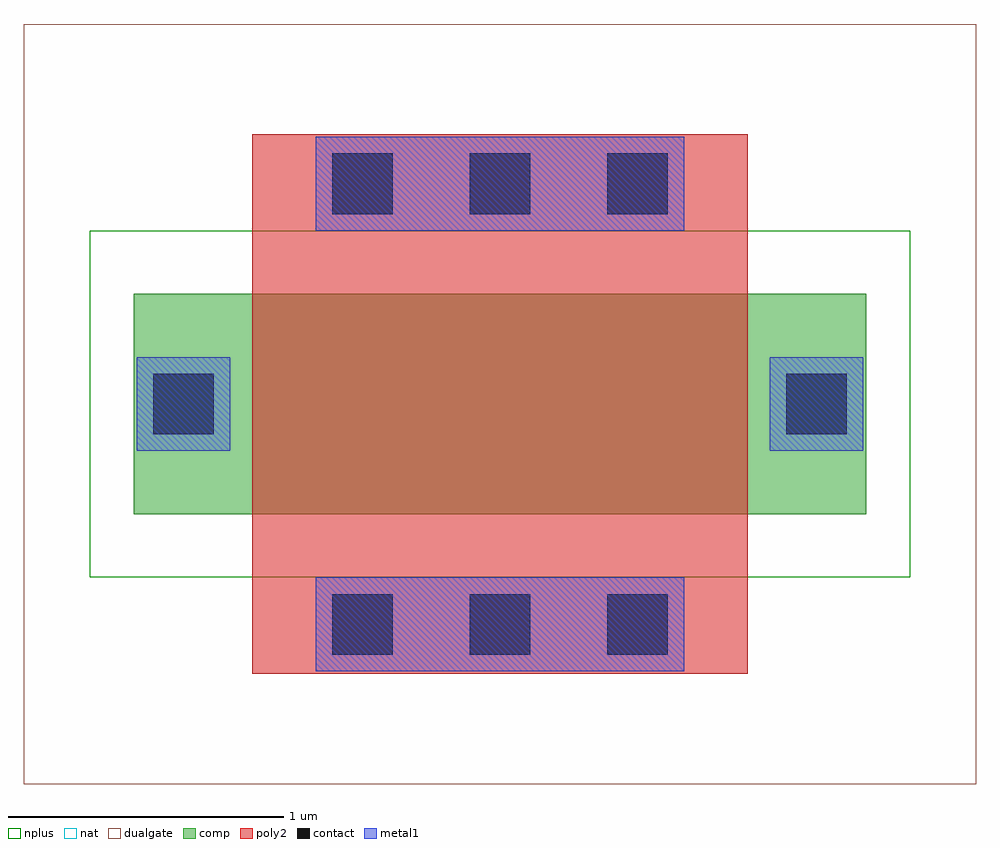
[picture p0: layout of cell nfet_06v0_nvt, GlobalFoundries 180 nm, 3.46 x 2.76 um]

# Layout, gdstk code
import gdstk
lib = gdstk.Library(unit=1e-6, precision=1e-09)
def R(c, l, rs):  # rectangles x0, y0, x1, y1
    for r in rs: c.add(gdstk.rectangle(r[:2], r[2:], *l))
nat = (5, 0)
comp = (22, 0)
poly2 = (30, 0)
nplus = (32, 0)
contact = (33, 0)
metal1 = (34, 0)
dualgate = (55, 0)

labels_gen_0dccefe6 = lib.new_cell('labels_gen_0dccefe6')

labels_gen_2a4a207f = lib.new_cell('labels_gen_2a4a207f')

labels_gen_28d2ae84 = lib.new_cell('labels_gen_28d2ae84')

compass_f9da3d91 = lib.new_cell('compass_f9da3d91')
R(compass_f9da3d91, comp, [(-0.97,-0.4,0.97,0.4)])

rectangle_f9da3d91 = lib.new_cell('rectangle_f9da3d91')
rectangle_f9da3d91.add(gdstk.Reference(compass_f9da3d91, (0.97,0.4)))

compass_2275cc76 = lib.new_cell('compass_2275cc76')
R(compass_2275cc76, comp, [(-0.18,-0.4,0.18,0.4)])

rectangle_2275cc76 = lib.new_cell('rectangle_2275cc76')
rectangle_2275cc76.add(gdstk.Reference(compass_2275cc76, (0.18,0.4)))

compass_f38dc993 = lib.new_cell('compass_f38dc993')
R(compass_f38dc993, contact, [(-0.11,-0.11,0.11,0.11)])

rectangle_f38dc993 = lib.new_cell('rectangle_f38dc993')
rectangle_f38dc993.add(gdstk.Reference(compass_f38dc993, (0.11,0.11)))

via_generator_3e6de886 = lib.new_cell('via_generator_3e6de886')
r = gdstk.Reference(rectangle_f38dc993, (-0.29,0.29)); r.repetition = gdstk.Repetition(1, 1, v1=(0.5,0), v2=(0,0.5)); via_generator_3e6de886.add(r)

compass_855f7ca8 = lib.new_cell('compass_855f7ca8')
R(compass_855f7ca8, metal1, [(-0.17,-0.17,0.17,0.17)])

rectangle_855f7ca8 = lib.new_cell('rectangle_855f7ca8')
rectangle_855f7ca8.add(gdstk.Reference(compass_855f7ca8, (0.17,0.17)))

via_stack_70f13287 = lib.new_cell('via_stack_70f13287')
via_stack_70f13287.add(gdstk.Reference(via_generator_3e6de886, (0,0)))
via_stack_70f13287.add(gdstk.Reference(rectangle_855f7ca8, (-0.35,0.23)))

compass_0bbb263b = lib.new_cell('compass_0bbb263b')
R(compass_0bbb263b, poly2, [(-0.9,-0.62,0.9,0.62)])

rectangle_0bbb263b = lib.new_cell('rectangle_0bbb263b')
rectangle_0bbb263b.add(gdstk.Reference(compass_0bbb263b, (0.9,0.62)))

compass_bbc60517 = lib.new_cell('compass_bbc60517')
R(compass_bbc60517, poly2, [(-0.9,-0.18,0.9,0.18)])

rectangle_bbc60517 = lib.new_cell('rectangle_bbc60517')
rectangle_bbc60517.add(gdstk.Reference(compass_bbc60517, (0.9,0.18)))

via_generator_ff60cc72 = lib.new_cell('via_generator_ff60cc72')
r = gdstk.Reference(rectangle_f38dc993, (0.29,0.07)); r.repetition = gdstk.Repetition(3, 1, v1=(0.5,0), v2=(0,0.5)); via_generator_ff60cc72.add(r)

compass_115ab800 = lib.new_cell('compass_115ab800')
R(compass_115ab800, metal1, [(-0.67,-0.17,0.67,0.17)])

rectangle_115ab800 = lib.new_cell('rectangle_115ab800')
rectangle_115ab800.add(gdstk.Reference(compass_115ab800, (0.67,0.17)))

via_stack_f9f21536 = lib.new_cell('via_stack_f9f21536')
via_stack_f9f21536.add(gdstk.Reference(via_generator_ff60cc72, (0,0)))
via_stack_f9f21536.add(gdstk.Reference(rectangle_115ab800, (0.23,0.01)))

poly_con = lib.new_cell('poly con')
poly_con.add(gdstk.Reference(rectangle_bbc60517, (0,0)))
poly_con.add(gdstk.Reference(via_stack_f9f21536, (0,0)))

compass_4c5b3132 = lib.new_cell('compass_4c5b3132')
R(compass_4c5b3132, nplus, [(-1.49,-0.63,1.49,0.63)])

rectangle_4c5b3132 = lib.new_cell('rectangle_4c5b3132')
rectangle_4c5b3132.add(gdstk.Reference(compass_4c5b3132, (1.49,0.63)))

dev_temp = lib.new_cell('dev_temp')
dev_temp.add(gdstk.Reference(rectangle_f9da3d91, (0,0)))
r = gdstk.Reference(rectangle_2275cc76, (-0.36,0)); r.repetition = gdstk.Repetition(2, 1, v1=(2.3,0), v2=(0,1)); dev_temp.add(r)
r = gdstk.Reference(via_stack_70f13287, (0,0)); r.repetition = gdstk.Repetition(2, 1, v1=(2.3,0), v2=(0,1)); dev_temp.add(r)
dev_temp.add(gdstk.Reference(rectangle_0bbb263b, (0.07,-0.22)))
r = gdstk.Reference(poly_con, (0.07,-0.58)); r.repetition = gdstk.Repetition(1, 2, v1=(1,0), v2=(0,1.6)); dev_temp.add(r)
dev_temp.add(gdstk.Reference(rectangle_4c5b3132, (-0.52,-0.23)))

compass_c9c99d1b = lib.new_cell('compass_c9c99d1b')
R(compass_c9c99d1b, dualgate, [(-1.73,-1.38,1.73,1.38)])

rectangle_c9c99d1b = lib.new_cell('rectangle_c9c99d1b')
rectangle_c9c99d1b.add(gdstk.Reference(compass_c9c99d1b, (1.73,1.38)))

compass_9d918a57 = lib.new_cell('compass_9d918a57')
R(compass_9d918a57, nat, [(-1.73,-1.38,1.73,1.38)])

rectangle_9d918a57 = lib.new_cell('rectangle_9d918a57')
rectangle_9d918a57.add(gdstk.Reference(compass_9d918a57, (1.73,1.38)))

nfet_06v0_nvt = lib.new_cell('nfet_06v0_nvt')
nfet_06v0_nvt.add(gdstk.Reference(labels_gen_0dccefe6, (0,0)))
nfet_06v0_nvt.add(gdstk.Reference(labels_gen_2a4a207f, (0,0)))
nfet_06v0_nvt.add(gdstk.Reference(labels_gen_28d2ae84, (0,0)))
nfet_06v0_nvt.add(gdstk.Reference(dev_temp, (0,0)))
nfet_06v0_nvt.add(gdstk.Reference(rectangle_c9c99d1b, (-0.76,-0.98)))
nfet_06v0_nvt.add(gdstk.Reference(rectangle_9d918a57, (-0.76,-0.98)))

lib.write_gds('nfet_06v0_nvt.gds')
